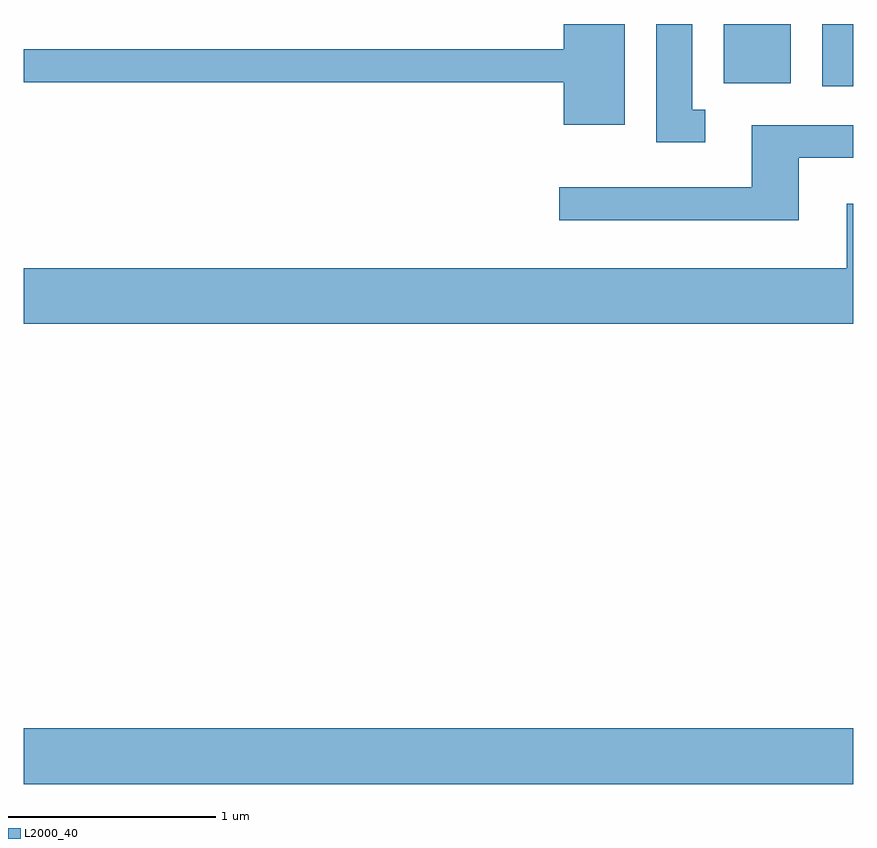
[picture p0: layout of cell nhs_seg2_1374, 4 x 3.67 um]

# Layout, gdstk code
import gdstk
lib = gdstk.Library(unit=1e-6, precision=1e-09)
def R(c, l, rs):  # rectangles x0, y0, x1, y1
    for r in rs: c.add(gdstk.rectangle(r[:2], r[2:], *l))
def P(c, l, *ps):  # polygons
    for p in ps: c.add(gdstk.Polygon(p, *l))
L2000_40 = (2000, 40)

nhs_seg2_1374 = lib.new_cell('nhs_seg2_1374')
R(nhs_seg2_1374, L2000_40, [(225.611,1006.136,229.611,1006.404), (229.461,1009.501,229.611,1009.802), (228.986,1009.516,229.309,1009.802)])
P(nhs_seg2_1374, L2000_40, [(228.509,1009.802),(228.216,1009.802),(228.216,1009.679),(225.611,1009.679),(225.611,1009.521),(228.216,1009.521),(228.216,1009.316),(228.509,1009.316)],
  [(228.898,1009.389),(228.834,1009.389),(228.834,1009.802),(228.661,1009.802),(228.661,1009.231),(228.898,1009.231)],
  [(229.349,1009.156),(229.611,1009.156),(229.611,1009.314),(229.121,1009.314),(229.121,1009.014),(228.193,1009.014),(228.193,1008.856),(229.349,1008.856)],
  [(229.611,1008.934),(229.581,1008.934),(229.581,1008.624),(225.611,1008.624),(225.611,1008.356),(229.611,1008.356)])

lib.write_gds('nhs_seg2_1374.gds')
